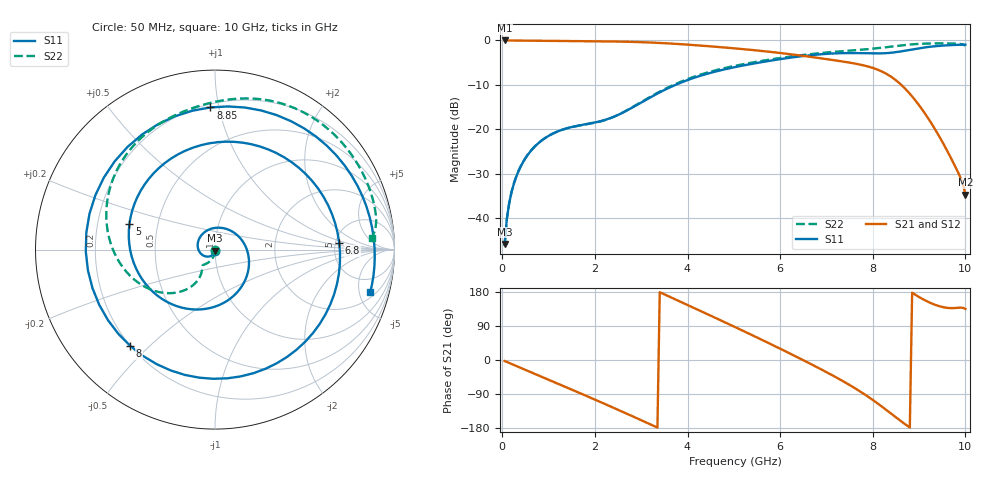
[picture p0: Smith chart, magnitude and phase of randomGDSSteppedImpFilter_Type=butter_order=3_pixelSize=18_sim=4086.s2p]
! freq	dB(S11)	phase(S11)	dB(S12)	phase(S12)
!  dB(S21)	phase(S21)	dB(S22)	phase(S22)
!S-par simulation data
#  GHz  S  DB  R 50
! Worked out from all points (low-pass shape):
!   200 points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, 50 MHz to 10 GHz, reference 50 ohm
!   highest |S21| = 0.00 dB at 50 MHz (marker M1); lowest = -34.8 dB at 10 GHz (marker M2)
!   |S21| within 3 dB of the highest: start of sweep to 6.144 GHz
!   lowest |S11| = -45.9 dB at 50 MHz (marker M3), VSWR 1.01, Z = 50 - j0.509 ohm
!   |S11| at or under -10 dB: start of sweep to 3.742 GHz
!   |S22| runs from -46.3 to -0.7 dB; largest |S21 - S12| = 0
!   S11 on the Smith chart (normalised r, x): 50 MHz: 1.00, -0.01; 5 GHz: 0.34, +0.13; 6.8 GHz: 5.40, +0.78; 8 GHz: 0.20, -0.44; 8.85 GHz: 0.22, +0.94; 10 GHz: 2.67, -6.41
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0.05  -45.86 -91.1  -0.00 -2.7  -0.00 -2.7  -46.35 -85.3
0.1  -40.03 -95.6  -0.01 -5.3  -0.01 -5.3  -40.09 -90.1
0.2  -34.16 -104.0  -0.02 -10.5  -0.02 -10.5  -34.10 -95.1
0.5  -26.53 -127.5  -0.05 -26.1  -0.05 -26.1  -26.47 -105.2
1.15  -20.70 -179.7  -0.11 -59.9  -0.11 -59.9  -20.69 -121.8
1.75  -18.98 123.8  -0.16 -91.3  -0.16 -91.3  -19.02 -128.0
2.7  -15.73 14.0  -0.30 -142.3  -0.30 -142.3  -15.69 -119.3
3.4  -11.69 -58.2  -0.56 178.9  -0.56 178.9  -11.53 -124.8
4.2  -8.21 -128.7  -1.09 133.9  -1.09 133.9  -7.97 -144.2
5  -6.06 163.3  -1.77 88.5  -1.77 88.5  -5.77 -167.3
5.05  -5.95 159.0  -1.82 85.6  -1.82 85.6  -5.66 -168.7
5.95  -4.30 80.0  -2.76 32.8  -2.76 32.8  -4.04 164.4
6.7  -3.28 12.3  -3.76 -12.9  -3.76 -12.9  -3.03 140.3
6.8  -3.18 3.1  -3.91 -19.2  -3.91 -19.2  -2.92 137.0
7.15  -2.93 -30.3  -4.43 -41.8  -4.43 -41.8  -2.59 125.0
7.55  -2.84 -72.7  -5.09 -69.6  -5.09 -69.6  -2.26 111.2
8  -2.92 -131.4  -6.19 -105.4  -6.19 -105.4  -1.86 95.4
8.35  -2.82 172.5  -7.86 -137.2  -7.86 -137.2  -1.44 82.3
8.6  -2.48 130.4  -9.86 -160.6  -9.86 -160.6  -1.12 72.0
8.85  -2.02 91.9  -12.61 177.7  -12.61 177.7  -0.88 60.8
9.4  -1.25 28.4  -20.97 143.4  -20.97 143.4  -0.67 34.9
10  -0.95 -15.2  -34.77 134.8  -34.77 134.8  -1.16 4.2
